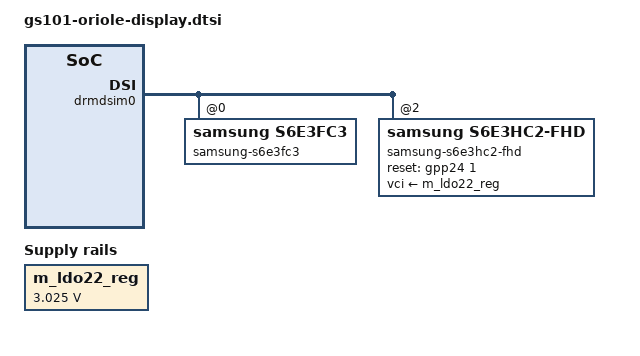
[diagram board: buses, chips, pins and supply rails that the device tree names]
// SPDX-License-Identifier: GPL-2.0-only
/*
 * Google GS101 Oriole-specific display device tree source
 *
 * Copyright (c) 2020 Google, LLC
 *
 */

&drmdsim0 {
	samsung_s6e3fc3: panel@0 {
		compatible = "samsung,s6e3fc3";
		label = "samsung-s6e3fc3";
		channel = <0>;
		touch = <&spitouch>;

		/* vddi is from PP1850_SA which is always on */
		/delete-node/ vddi-supply;
	};

	samsung_s6e3hc2_fhd: panel@2 {
		compatible = "samsung,s6e3hc2-fhd";
		label = "samsung-s6e3hc2-fhd";
		channel = <0>;
		touch = <&spitouch1>;

		/* reset, power */
		reset-gpios = <&gpp24 1 GPIO_ACTIVE_HIGH>;
		vci-supply = <&m_ldo22_reg>;
	};
};

/* vci-supply voltage */
&m_ldo22_reg {
	regulator-min-microvolt = <3025000>;
	regulator-max-microvolt = <3025000>;
};

